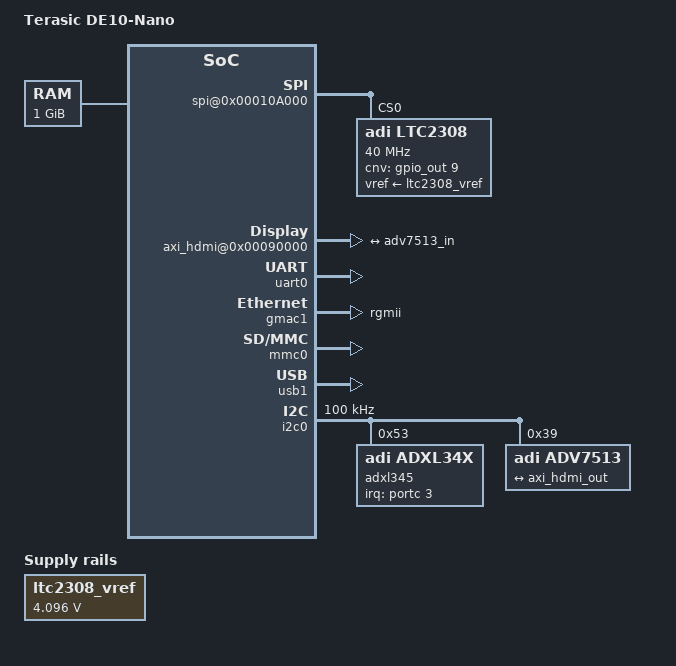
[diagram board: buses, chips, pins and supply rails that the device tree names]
// SPDX-License-Identifier: GPL-2.0+
/*
 * Copyright (C) 2017, Intel Corporation
 *
 * based on socfpga_cyclone5_de0_nano_soc.dts
 */

#include "socfpga_cyclone5.dtsi"
#include <dt-bindings/interrupt-controller/irq.h>
#include <dt-bindings/gpio/gpio.h>


/ {
	model = "Terasic DE10-Nano";
	compatible = "altr,socfpga-cyclone5", "altr,socfpga";

	chosen {
		bootargs = "earlyprintk";
		stdout-path = "serial0:115200n8";
	};

	memory {
		name = "memory";
		device_type = "memory";
		reg = <0x0 0x40000000>;	/* 1GB */
	};

	soc {
		fpga_axi: axi_h2f_lw_bridge@0xff200000 {
			compatible = "simple-bus";
			reg = <0xff200000 0x00200000>;
			#address-cells = <1>;
			#size-cells = <1>;
			ranges = <0x00000000 0xff200000 0x00200000>;
		};
	};

	aliases {
		ethernet0 = &gmac1;
		udc0 = &usb1;
	};

	clocks {
		sys_clk: sys_clk {
			#clock-cells = <0x0>;
			compatible = "fixed-clock";
			clock-frequency = <50000000>;
			clock-output-names = "sys_clk";
		};

		pixel_clk_pll: pixel_clk_pll {
			#clock-cells = <0x0>;
			compatible = "fixed-clock";
			clock-frequency = <148500000>;
			clock-output-names = "pixel_clk_pll";
		};
	};

	ltc2308_vref: voltage-regulator {
		compatible = "regulator-fixed";
		regulator-name = "fixed-supply";
		regulator-min-microvolt = <4096000>;
		regulator-max-microvolt = <4096000>;
		regulator-always-on;
	};
};

&uart0 {
	status = "okay";
};

&gmac1 {
	status = "okay";
	phy-mode = "rgmii";

	rxd0-skew-ps = <420>;
	rxd1-skew-ps = <420>;
	rxd2-skew-ps = <420>;
	rxd3-skew-ps = <420>;
	txen-skew-ps = <0>;
	txc-skew-ps = <1860>;
	rxdv-skew-ps = <420>;
	rxc-skew-ps = <1680>;
};

&mmc0 {
	status = "okay";
	u-boot,dm-pre-reloc;
};

&usb1 {
	status = "okay";
};

&uart0 {
	clock-frequency = <100000000>;
	u-boot,dm-pre-reloc;
};

&gpio0 {
	status = "okay";
};

&gpio1 {
	status = "okay";
};

&gpio2 {
	status = "okay";
};

&porta {
	bank-name = "porta";
};

&portb {
	bank-name = "portb";
};

&portc {
	bank-name = "portc";
};

&i2c0 {
	status = "okay";
	clock-frequency = <100000>;

	adxl345@53 {
		compatible = "adi,adxl34x";
		reg = <0x53>;
		interrupt-parent = <&portc>;
		interrupts = <3 2>;
	};

	adv7513: adv7513@39 {
		compatible = "adi,adv7513";
		reg = <0x39>, <0x3f>;
		reg-names = "primary", "edid";

		adi,input-depth = <8>;
		adi,input-colorspace = "rgb";
		adi,input-clock = "1x";
		adi,clock-delay = <0>;

		#sound-dai-cells = <0>;

		ports {
			#address-cells = <1>;
			#size-cells = <0>;

			port@0 {
				reg = <0>;
				adv7513_in: endpoint {
					remote-endpoint = <&axi_hdmi_out>;
				};
			};

			port@1 {
				reg = <1>;
			};
		};
	};
};

&fpga_axi {
	gpio_in: gpio_in@0x00010100 {
		compatible = "altr,pio-18.1", "altr,pio-1.0";
		reg = <0x00010100 0x00000010>;
		altr,gpio-bank-width = <32>;
		altr,interrupt-type = <4>;
		altr,interrupt_type = <4>;
		level_trigger = <1>;
		resetvalue = <0>;
		#gpio-cells = <2>;
		gpio-controller;
	};

	gpio_out: gpio_out@0x00109000 {
		compatible = "altr,pio-1.0";
		reg = <0x00109000 0x00000010>;
		altr,gpio-bank-width = <32>;
		resetvalue = <0>;
		#gpio-cells = <2>;
		gpio-controller;
	};

	spi@0x00010A000 {
		compatible = "altr,spi-18.1", "altr,spi-1.0";
		reg = <0x0010a000 0x00000020>;
		interrupt-parent = <&intc>;
		interrupts = <0 43 IRQ_TYPE_LEVEL_HIGH>;
		#address-cells = <0x1>;
		#size-cells = <0x0>;

		ltc2308: adc@0x1 {
			compatible = "adi,ltc2308";
			reg = <0>;
			spi-max-frequency = <40000000>;
			vref-supply = <&ltc2308_vref>;
			cnv-gpios = <&gpio_out 9 GPIO_ACTIVE_HIGH>;
			#address-cells = <1>;
			#size-cells = <0>;
			channel@0 {
				reg = <0>;
			};
			channel@1 {
				reg = <1>;
			};
			channel@2 {
				reg = <2>;
			};
			channel@3 {
				reg = <3>;
			};
			channel@4 {
				reg = <4>;
			};
			channel@5 {
				reg = <5>;
			};
			channel@6 {
				reg = <6>;
			};
			channel@7 {
				reg = <7>;
			};
		};
	};

	hdmi_tx_dma: dma@0x00080000 {
		compatible = "adi,axi-dmac-1.00.a";
		reg = <0x00080000 0x00000800>;
		interrupt-parent = <&intc>;
		interrupts = <0 47 IRQ_TYPE_LEVEL_HIGH>;
		#dma-cells = <1>;
		clocks = <&sys_clk>;

		adi,channels {
			#size-cells = <0>;
			#address-cells = <1>;

			dma-channel@0 {
				reg = <0>;
				adi,source-bus-width = <64>;
				adi,source-bus-type = <0>;
				adi,destination-bus-width = <64>;
				adi,destination-bus-type = <1>;
			};
		};
	};

	axi_hdmi@0x00090000 {
		compatible = "adi,axi-hdmi-tx-1.00.a";
		reg = <0x00090000 0x10000>;
		dmas = <&hdmi_tx_dma 0>;
		dma-names = "video";
		clocks = <&pixel_clk_pll>;
		adi,is-rgb;

		port {
			axi_hdmi_out: endpoint {
				remote-endpoint = <&adv7513_in>;
			};
		};
	};
};
